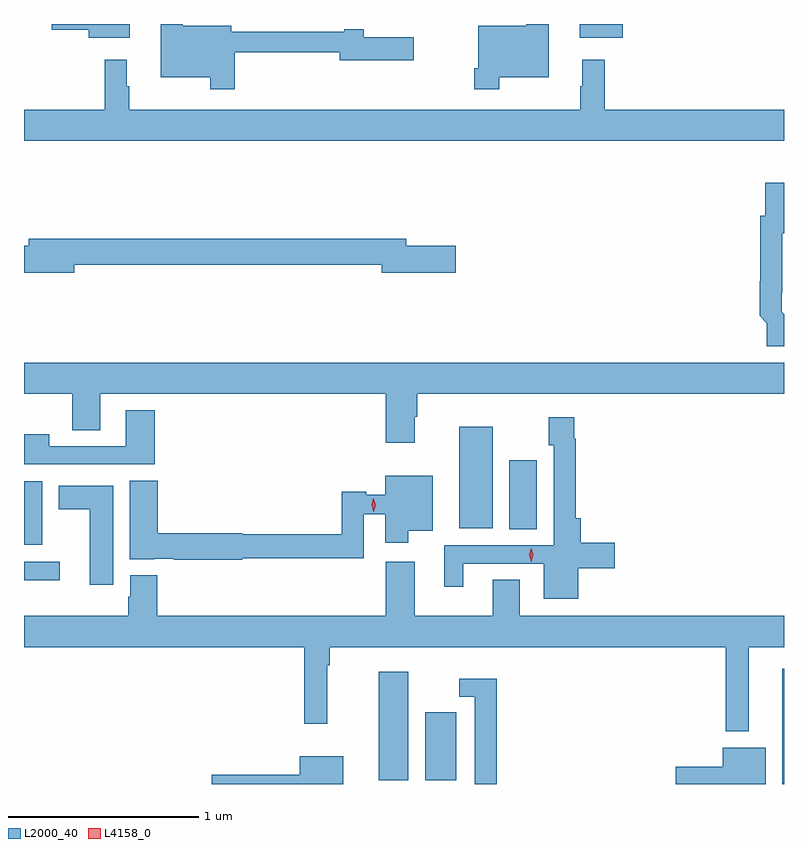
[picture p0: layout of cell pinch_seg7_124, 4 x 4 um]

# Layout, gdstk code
import gdstk
lib = gdstk.Library(unit=1e-6, precision=1e-09)
def R(c, l, rs):  # rectangles x0, y0, x1, y1
    for r in rs: c.add(gdstk.rectangle(r[:2], r[2:], *l))
def P(c, l, *ps):  # polygons
    for p in ps: c.add(gdstk.Polygon(p, *l))
L2000_40 = (2000, 40)
L4158_0 = (4158, 0)

pinch_seg7_124 = lib.new_cell('pinch_seg7_124')
R(pinch_seg7_124, L2000_40, [(916.481,1009.219,916.489,1009.825), (914.357,1009.24,914.512,1009.81), (914.6,1009.24,914.764,1009.597), (912.489,1010.291,912.676,1010.388), (912.489,1010.477,912.586,1010.812), (915.044,1010.56,915.187,1010.923), (914.78,1010.564,914.956,1011.1), (915.413,1013.147,915.64,1013.219)])
P(pinch_seg7_124, L2000_40, [(913.045,1013.219),(912.636,1013.219),(912.636,1013.188),(912.83,1013.188),(912.83,1013.147),(913.045,1013.147)],
  [(913.598,1013.07),(914.15,1013.07),(914.15,1013.027),(914.539,1013.027),(914.539,1013.149),(914.278,1013.149),(914.278,1013.191),(914.174,1013.191),(914.174,1013.179),(913.579,1013.179),(913.579,1013.209),(913.325,1013.209),(913.325,1013.219),(913.208,1013.219),(913.208,1012.94),(913.47,1012.94),(913.47,1012.875),(913.598,1012.875)],
  [(914.989,1012.94),(915.25,1012.94),(915.25,1013.219),(915.133,1013.219),(915.133,1013.209),(914.88,1013.209),(914.88,1012.987),(914.86,1012.987),(914.86,1012.875),(914.989,1012.875)],
  [(916.489,1012.768),(915.545,1012.768),(915.545,1013.032),(915.428,1013.032),(915.428,1012.892),(915.417,1012.892),(915.417,1012.768),(913.042,1012.768),(913.042,1012.892),(913.03,1012.892),(913.03,1013.032),(912.913,1013.032),(912.913,1012.768),(912.489,1012.768),(912.489,1012.604),(916.489,1012.604)],
  [(916.489,1011.692),(916.476,1011.705),(916.476,1011.805),(916.479,1011.805),(916.479,1012.119),(916.489,1012.119),(916.489,1012.384),(916.391,1012.384),(916.391,1012.209),(916.363,1012.209),(916.363,1011.866),(916.361,1011.866),(916.361,1011.684),(916.399,1011.645),(916.399,1011.522),(916.489,1011.522)],
  [(912.754,1011.952),(914.372,1011.952),(914.372,1011.91),(914.761,1011.91),(914.761,1012.052),(914.5,1012.052),(914.5,1012.088),(912.515,1012.088),(912.515,1012.052),(912.489,1012.052),(912.489,1011.91),(912.754,1011.91)],
  [(914.545,1011.152),(914.558,1011.152),(914.558,1011.272),(916.489,1011.272),(916.489,1011.436),(912.489,1011.436),(912.489,1011.272),(912.742,1011.272),(912.742,1011.082),(912.889,1011.082),(912.889,1011.272),(914.393,1011.272),(914.393,1011.015),(914.545,1011.015)],
  [(913.178,1011.187),(913.025,1011.187),(913.025,1010.997),(912.621,1010.997),(912.621,1011.061),(912.489,1011.061),(912.489,1010.901),(913.178,1010.901)],
  [(915.406,1010.354),(915.598,1010.354),(915.598,1010.489),(915.419,1010.489),(915.419,1010.617),(915.392,1010.617),(915.392,1011.035),(915.385,1011.035),(915.385,1011.148),(915.25,1011.148),(915.25,1011.003),(915.276,1011.003),(915.276,1010.475),(914.702,1010.475),(914.702,1010.256),(914.8,1010.256),(914.8,1010.379),(915.224,1010.379),(915.224,1010.195),(915.406,1010.195)],
  [(913.638,1010.406),(914.277,1010.406),(914.277,1010.638),(914.39,1010.638),(914.39,1010.49),(914.512,1010.49),(914.512,1010.552),(914.641,1010.552),(914.641,1010.842),(914.39,1010.842),(914.39,1010.741),(914.289,1010.741),(914.289,1010.756),(914.161,1010.756),(914.161,1010.534),(913.638,1010.534),(913.638,1010.54),(913.193,1010.54),(913.193,1010.816),(913.046,1010.816),(913.046,1010.402),(913.176,1010.402),(913.176,1010.405),(913.276,1010.405),(913.276,1010.398),(913.638,1010.398)],
  [(912.958,1010.788),(912.671,1010.788),(912.671,1010.666),(912.836,1010.666),(912.836,1010.268),(912.958,1010.268)],
  [(916.303,1009.94),(916.489,1009.94),(916.489,1010.104),(915.097,1010.104),(915.097,1010.294),(914.957,1010.294),(914.957,1010.104),(914.545,1010.104),(914.545,1010.389),(914.393,1010.389),(914.393,1010.104),(913.19,1010.104),(913.19,1010.317),(913.049,1010.317),(913.049,1010.205),(913.037,1010.205),(913.037,1010.104),(912.489,1010.104),(912.489,1009.94),(913.963,1009.94),(913.963,1009.536),(914.084,1009.536),(914.084,1009.844),(914.099,1009.844),(914.099,1009.94),(916.182,1009.94),(916.182,1009.496),(916.303,1009.496)],
  [(914.978,1009.774),(914.781,1009.774),(914.781,1009.677),(914.862,1009.677),(914.862,1009.219),(914.978,1009.219)],
  [(916.393,1009.411),(916.166,1009.411),(916.166,1009.31),(915.918,1009.31),(915.918,1009.219),(916.393,1009.219)],
  [(914.17,1009.366),(913.94,1009.366),(913.94,1009.268),(913.476,1009.268),(913.476,1009.219),(914.17,1009.219)])
P(pinch_seg7_124, L4158_0, [(915.158,1010.39),(915.158,1010.39),(915.149,1010.425),(915.159,1010.46),(915.159,1010.46),(915.159,1010.46),(915.169,1010.425),(915.159,1010.39)],
  [(914.33,1010.653),(914.319,1010.687),(914.328,1010.722),(914.328,1010.722),(914.328,1010.722),(914.339,1010.688),(914.331,1010.653),(914.331,1010.653)])

lib.write_gds('pinch_seg7_124.gds')
